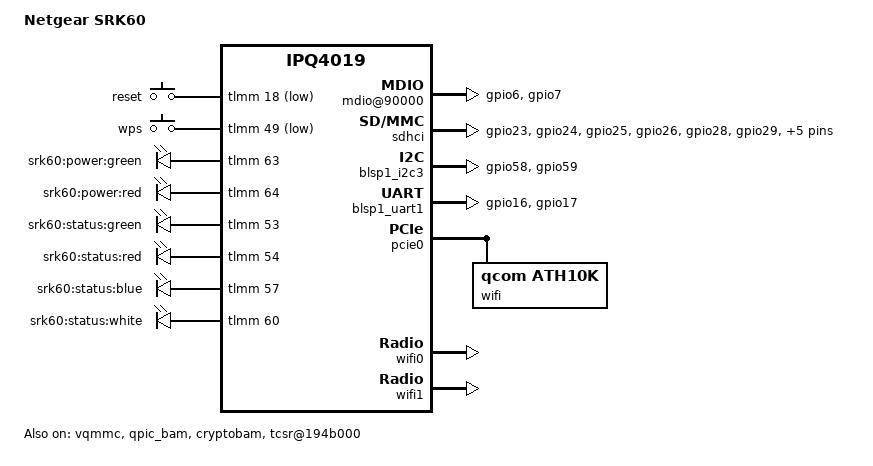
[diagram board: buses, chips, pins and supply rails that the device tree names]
// SPDX-License-Identifier: GPL-2.0-or-later OR MIT

#include "qcom-ipq4019.dtsi"
#include <dt-bindings/gpio/gpio.h>
#include <dt-bindings/input/input.h>
#include <dt-bindings/soc/qcom,tcsr.h>

/ {
	model = "Netgear SRK60";
	compatible = "netgear,srk60";

	chosen {
		bootargs = "blkdevparts=mmcblk0:512K@17K(0:SBL1)ro,512K(0:BOOTCONFIG)ro,512K(0:QSEE)ro,512K(0:QSEE_1)ro,256K(0:CDT)ro,256K(0:CDT_1)ro,512K(0:BOOTCONFIG1)ro,256K(0:APPSBLENV)ro,1M(0:APPSBL)ro,1M(0:APPSBL_1)ro,256K(0:ART)ro,256K(ARTMTD)ro,2M(language)ro,256K(config)ro,256K(pot)ro,256K(traffic_meter)ro,256K(pot_bak)ro,256K(traffic_meter.bak)ro,3840K(kernel),31488K(rootfs),35328K@9233K(firmware),256K(mtdoops)ro,64K(cert)ro,3840K(kernel-2)ro,31488K(rootfs-2)ro,35328K@44881K(firmware-2)ro,5M(device_table)ro,17M(cp_file)ro,102737K(reserved)ro,-(unallocated) rootfstype=squashfs,ext4 ro";
	};

	aliases {
		led-boot = &white;
		led-failsafe = &red;
		led-running = &green;
		led-upgrade = &blue;
	};

	soc {
		rng@22000 {
			status = "okay";
		};

		mdio@90000 {
			status = "okay";

			pinctrl-0 = <&mdio_pins>;
			pinctrl-names = "default";
		};

		ess-psgmii@98000 {
			status = "okay";
		};

		counter@4a1000 {
			compatible = "qcom,qca-gcnt";
			reg = <0x4a1000 0x4>;
		};

		tcsr@1949000 {
			compatible = "qcom,tcsr";
			reg = <0x1949000 0x100>;
			qcom,wifi_glb_cfg = <TCSR_WIFI_GLB_CFG>;
		};

		tcsr@194b000 {
			status = "okay";

			compatible = "qcom,tcsr";
			reg = <0x194b000 0x100>;
			qcom,usb-hsphy-mode-select = <TCSR_USB_HSPHY_HOST_MODE>;
		};

		ess_tcsr@1953000 {
			compatible = "qcom,tcsr";
			reg = <0x1953000 0x1000>;
			qcom,ess-interface-select = <TCSR_ESS_PSGMII>;
		};

		tcsr@1957000 {
			compatible = "qcom,tcsr";
			reg = <0x1957000 0x100>;
			qcom,wifi_noc_memtype_m0_m2 = <TCSR_WIFI_NOC_MEMTYPE_M0_M2>;
		};

		// usb2: usb2@60f8800 {
		// 	status = "okay";
		// };

		// usb3: usb3@8af8800 {
		// 	status = "okay";
		// };

		crypto@8e3a000 {
			status = "okay";
		};

		watchdog@b017000 {
			status = "okay";
		};

		ess-switch@c000000 {
			status = "okay";
		};

		edma@c080000 {
			status = "okay";
		};
	};

	keys {
		compatible = "gpio-keys";

		reset {
			label = "reset";
			gpios = <&tlmm 18 GPIO_ACTIVE_LOW>;
			linux,code = <KEY_RESTART >;
		};

		wps {
			label = "wps";
			gpios = <&tlmm 49 GPIO_ACTIVE_LOW>;
			linux,code = <KEY_WPS_BUTTON>;
		};
	};

	leds {
		compatible = "gpio-leds";

		power-green {
			label = "srk60:power:green";
			gpios = <&tlmm 63 GPIO_ACTIVE_HIGH>;
			default-state = "on";
		};

		power-red {
			label = "srk60:power:red";
			gpios = <&tlmm 64 GPIO_ACTIVE_HIGH>;
			default-state = "off";
			panic-indicator;
		};

		green: green {
			label = "srk60:status:green";
			gpios = <&tlmm 53 GPIO_ACTIVE_HIGH>;
		};

		red: red {
			label = "srk60:status:red";
			gpios = <&tlmm 54 GPIO_ACTIVE_HIGH>;
		};

		blue: blue {
			label = "srk60:status:blue";
			gpios = <&tlmm 57 GPIO_ACTIVE_HIGH>;
		};

		white: white {
			label = "srk60:status:white";
			gpios = <&tlmm 60 GPIO_ACTIVE_HIGH>;
		};
	};
};

&vqmmc {
	status = "okay";
};

&sdhci {
	status = "okay";

	pinctrl-0 = <&sd_pins>;
	pinctrl-names = "default";
	cd-gpios = <&tlmm 22 GPIO_ACTIVE_LOW>;
	vqmmc-supply = <&vqmmc>;
};

&qpic_bam {
	status = "okay";
};

&tlmm {
	mdio_pins: mdio_pinmux {
		mux_1 {
			pins = "gpio6";
			function = "mdio";
			bias-pull-up;
		};

		mux_2 {
			pins = "gpio7";
			function = "mdc";
			bias-pull-up;
		};
	};

	serial_pins: serial_pinmux {
		mux {
			pins = "gpio16", "gpio17";
			function = "blsp_uart0";
			bias-disable;
		};
	};

	i2c_0_pins: i2c_0_pinmux {
		pinmux {
			function = "blsp_i2c0";
			pins = "gpio58", "gpio59";
			bias-disable;
		};
		// pinconf {
		// 	pins = "gpio58", "gpio59";
		// 	drive-strength = <16>;
		// 	bias-disable;
		// };
	};

	// spi_0_pins: spi_0_pinmux {
	// 	pinmux {
	// 		function = "blsp_spi0";
	// 		pins = "gpio13", "gpio14", "gpio15";
	// 		drive-strength = <12>;
	// 		bias-disable;
	// 	};

	// 	pinmux_cs {
	// 		function = "gpio";
	// 		pins = "gpio12";
	// 		drive-strength = <2>;
	// 		bias-disable;
	// 		output-high;
	// 	};
	// };

	// nand_pins: nand_pins {
	// 	pullups {
	// 		pins =  "gpio52", "gpio53", "gpio58", "gpio59";
	// 		function = "qpic";
	// 		bias-pull-up;
	// 	};

	// 	pulldowns {
	// 		pins = "gpio54", "gpio55", "gpio56", "gpio57",
	// 			"gpio60", "gpio62", "gpio63", "gpio64",
	// 			"gpio65", "gpio66", "gpio67", "gpio68",
	// 			"gpio69";
	// 		function = "qpic";
	// 		bias-pull-down;
	// 	};
	// };

	sd_pins: sd_pins {
		pinmux {
			function = "sdio";
			pins = "gpio23", "gpio24", "gpio25", "gpio26",
				"gpio28", "gpio29", "gpio30", "gpio31";
			drive-strength = <10>;
		};

		pinmux_sd_clk {
			function = "sdio";
			pins = "gpio27";
			drive-strength = <16>;
		};

		pinmux_sd7 {
			function = "sdio";
			pins = "gpio32";
			drive-strength = <10>;
			bias-disable;
		};
	};
};

&blsp_dma {
	status = "okay";
};

&blsp1_i2c3 {
	pinctrl-0 = <&i2c_0_pins>;
	pinctrl-names = "default";

	status = "okay";
	
	// tlc59208f@27 {
	// 	#address-cells = <1>;
	// 	#size-cells = <0>;
	// 	compatible = "ti,tlc59108";
	// 	reg = <0x27>;
		
	// 	led0@0 {
	// 		label = "orbi:led0:rgb";
	// 		reg = <0x0>;
	// 	};
	// 	led1@1 {
	// 		label = "orbi:led1:rgb";
	// 		reg = <0x1>;
	// 	};
	// 	led2@2 {
	// 		label = "orbi:led2:rgb";
	// 		reg = <0x2>;
	// 	};
	// 	led3@3 {
	// 		label = "orbi:led3:rgb";
	// 		reg = <0x3>;
	// 	};
	// 	led4@4 {
	// 		label = "orbi:led4:rgb";
	// 		reg = <0x4>;
	// 	};
	// 	led5@5 {
	// 		label = "orbi:led5:rgb";
	// 		reg = <0x5>;
	// 	};
	// 	led6@6 {
	// 		label = "orbi:led6:rgb";
	// 		reg = <0x6>;
	// 	};
	// 	led7@7 {
	// 		label = "orbi:led7:rgb";
	// 		reg = <0x7>;
	// 	};
	// };
};

/* Some DVK boards ship without NAND */
// &nand {
// 	status = "okay";

// 	pinctrl-0 = <&nand_pins>;
// 	pinctrl-names = "default";
// };

&blsp1_uart1 {
	status = "okay";

	pinctrl-0 = <&serial_pins>;
	pinctrl-names = "default";
};

&cryptobam {
	status = "okay";
};

&pcie0 {
	status = "okay";

	perst-gpio = <&tlmm 38 GPIO_ACTIVE_LOW>;
	wake-gpio = <&tlmm 50 GPIO_ACTIVE_LOW>;

	bridge@0,0 {
		reg = <0x00000000 0 0 0 0>;
		#address-cells = <3>;
		#size-cells = <2>;
		ranges;

		wifi@1,0 {
			/* QCA9984 */
			compatible = "qcom,ath10k";
			status = "okay";
			reg = <0x00010000 0 0 0 0>;
			ieee80211-freq-limit = <5470000 5875000>;
			qcom,ath10k-calibration-variant = "Netgear-Orbi-Pro-SRK60";
		};
	};
};

&wifi0 {
	status = "okay";

	qcom,ath10k-calibration-variant = "Netgear-Orbi-Pro-SRK60";
};

&wifi1 {
	status = "okay";

	qcom,ath10k-calibration-variant = "Netgear-Orbi-Pro-SRK60";
};

// &usb3_ss_phy {
// 	status = "okay";
// };

// &usb3_hs_phy {
// 	status = "okay";
// };

// &usb2_hs_phy {
// 	status = "okay";
// };
